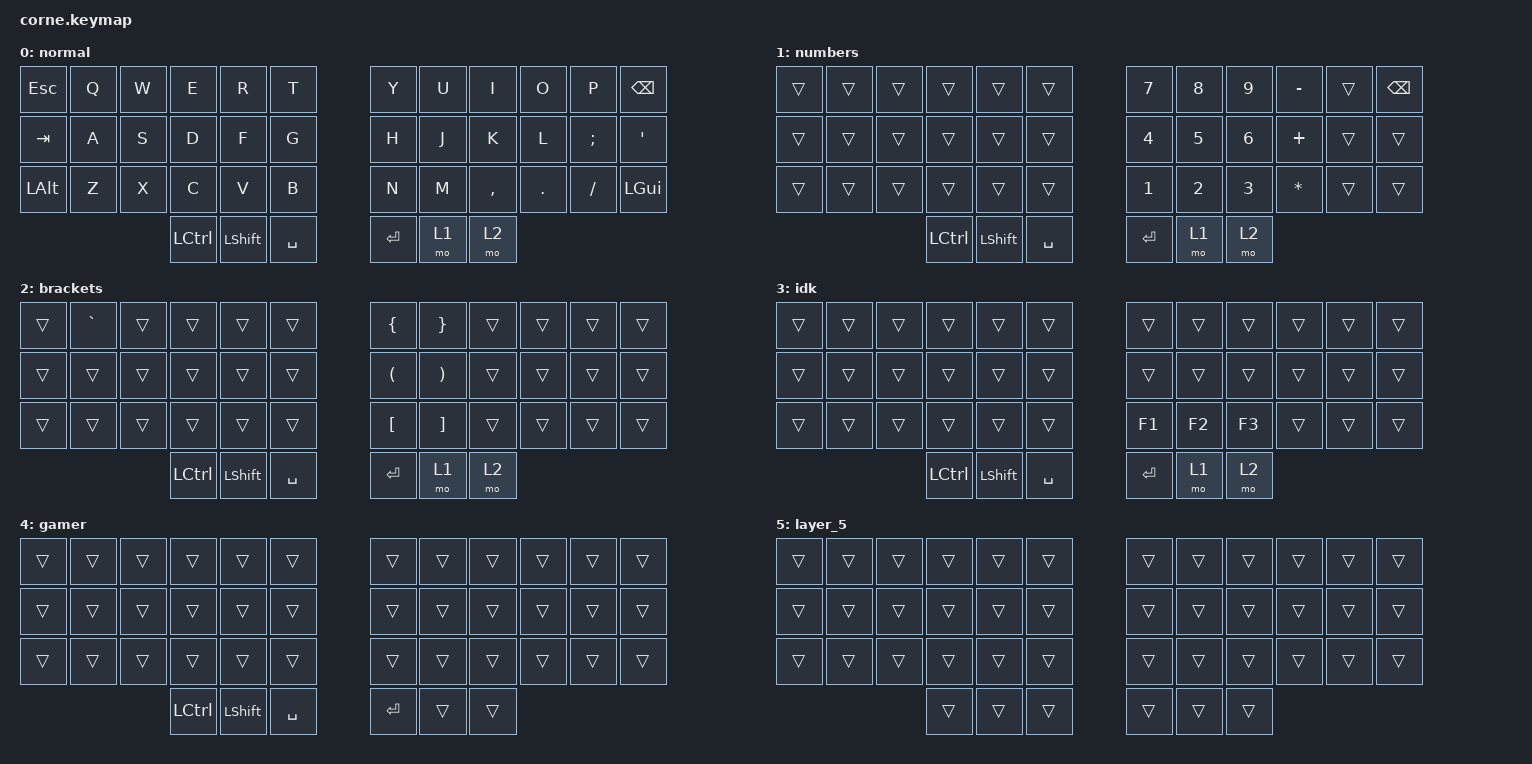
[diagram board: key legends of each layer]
/*
 * Copyright (c) 2020 The ZMK Contributors
 *
 * SPDX-License-Identifier: MIT
 */

#include <behaviors.dtsi>
#include <dt-bindings/zmk/keys.h>
#include <dt-bindings/zmk/bt.h>
#include <dt-bindings/zmk/outputs.h>
#include <dt-bindings/zmk/ext_power.h>
#include <dt-bindings/led/led.h>
#include <dt-bindings/zmk/backlight.h>
#include <dt-bindings/zmk/rgb.h>
#include <dt-bindings/zmk/reset.h>

&led_strip {
    chain-length = <27>;
};

/ {
    combos {
        compatible = "zmk,combos";

        GoToLayer3 {
            bindings = <&mo 3>;
            key-positions = <40 41>;
        };

        EnterGamerMode {
            bindings = <&tog 4>;
            key-positions = <40 41 17>;
        };
    };

    keymap {
        compatible = "zmk,keymap";

        normal {
            bindings = <
&kp ESC   &kp Q  &kp W  &kp E      &kp R           &kp T        &kp Y    &kp U  &kp I      &kp O    &kp P     &kp BACKSPACE
&kp TAB   &kp A  &kp S  &kp D      &kp F           &kp G        &kp H    &kp J  &kp K      &kp L    &kp SEMI  &kp SQT
&kp LALT  &kp Z  &kp X  &kp C      &kp V           &kp B        &kp N    &kp M  &kp COMMA  &kp DOT  &kp FSLH  &kp LEFT_GUI
                        &kp LCTRL  &kp LEFT_SHIFT  &kp SPACE    &kp RET  &mo 1  &mo 2
            >;
        };

        numbers {
            bindings = <
&trans  &trans  &trans  &trans     &trans          &trans       &kp N7   &kp N8  &kp N9  &kp MINUS     &trans  &kp BACKSPACE
&trans  &trans  &trans  &trans     &trans          &trans       &kp N4   &kp N5  &kp N6  &kp PLUS      &trans  &trans
&trans  &trans  &trans  &trans     &trans          &trans       &kp N1   &kp N2  &kp N3  &kp ASTERISK  &trans  &trans
                        &kp LCTRL  &kp LEFT_SHIFT  &kp SPACE    &kp RET  &mo 1   &mo 2
            >;
        };

        brackets {
            bindings = <
&trans  &kp GRAVE  &trans  &trans     &trans          &trans       &kp LEFT_BRACE        &kp RIGHT_BRACE        &trans  &trans  &trans  &trans
&trans  &trans     &trans  &trans     &trans          &trans       &kp LEFT_PARENTHESIS  &kp RIGHT_PARENTHESIS  &trans  &trans  &trans  &trans
&trans  &trans     &trans  &trans     &trans          &trans       &kp LEFT_BRACKET      &kp RIGHT_BRACKET      &trans  &trans  &trans  &trans
                           &kp LCTRL  &kp LEFT_SHIFT  &kp SPACE    &kp RET               &mo 1                  &mo 2
            >;
        };

        idk {
            bindings = <
&trans  &trans  &trans  &trans     &trans          &trans       &trans   &trans  &trans  &trans  &trans  &trans
&trans  &trans  &trans  &trans     &trans          &trans       &trans   &trans  &trans  &trans  &trans  &trans
&trans  &trans  &trans  &trans     &trans          &trans       &kp F1   &kp F2  &kp F3  &trans  &trans  &trans
                        &kp LCTRL  &kp LEFT_SHIFT  &kp SPACE    &kp RET  &mo 1   &mo 2
            >;
        };

        gamer {
            bindings = <
&trans  &trans  &trans  &trans            &trans          &trans       &trans   &trans  &trans  &trans  &trans  &trans
&trans  &trans  &trans  &trans            &trans          &trans       &trans   &trans  &trans  &trans  &trans  &trans
&trans  &trans  &trans  &trans            &trans          &trans       &trans   &trans  &trans  &trans  &trans  &trans
                        &kp LEFT_CONTROL  &kp LEFT_SHIFT  &kp SPACE    &kp RET  &trans  &trans
            >;
        };

        layer_5 {
            bindings = <
&trans  &trans  &trans  &trans  &trans  &trans    &trans  &trans  &trans  &trans  &trans  &trans
&trans  &trans  &trans  &trans  &trans  &trans    &trans  &trans  &trans  &trans  &trans  &trans
&trans  &trans  &trans  &trans  &trans  &trans    &trans  &trans  &trans  &trans  &trans  &trans
                        &trans  &trans  &trans    &trans  &trans  &trans
            >;
        };
    };
};
